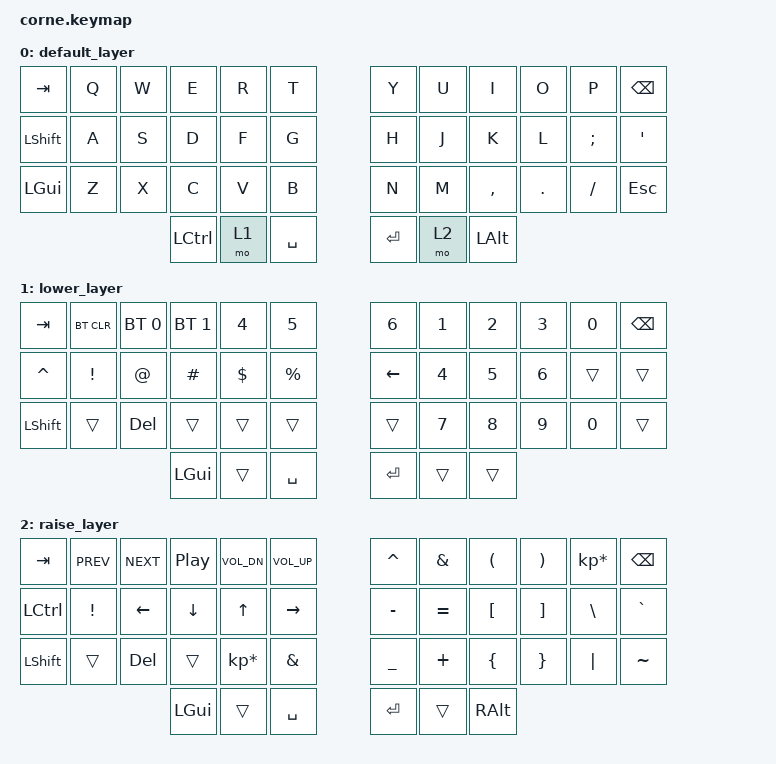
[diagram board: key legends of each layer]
/*
 * Copyright (c) 2020 The ZMK Contributors
 *
 * SPDX-License-Identifier: MIT
 */

#include <behaviors.dtsi>
#include <dt-bindings/zmk/bt.h>
#include <dt-bindings/zmk/keys.h>

/ {
    keymap {
        compatible = "zmk,keymap";

        default_layer {
            // -----------------------------------------------------------------------------------------
            // |  TAB |  Q  |  W  |  E  |  R  |  T  |   |  Y  |  U   |  I  |  O  |  P  | BKSP |
            // | CTRL |  A  |  S  |  D  |  F  |  G  |   |  H  |  J   |  K  |  L  |  ;  |  '   |
            // | SHFT |  Z  |  X  |  C  |  V  |  B  |   |  N  |  M   |  ,  |  .  |  /  | ESC  |
            //                    | GUI | LWR | SPC |   | ENT | RSE  | ALT |

            bindings = <
&kp TAB    &kp Q  &kp W  &kp E      &kp R  &kp T        &kp Y    &kp U  &kp I      &kp O    &kp P     &kp BSPC
&kp LSHFT  &kp A  &kp S  &kp D      &kp F  &kp G        &kp H    &kp J  &kp K      &kp L    &kp SEMI  &kp SQT
&kp LGUI   &kp Z  &kp X  &kp C      &kp V  &kp B        &kp N    &kp M  &kp COMMA  &kp DOT  &kp FSLH  &kp ESC
                         &kp LCTRL  &mo 1  &kp SPACE    &kp RET  &mo 2  &kp LALT
            >;
        };

        lower_layer {
            // -----------------------------------------------------------------------------------------
            // |  TAB |  1  |  2  |  3  |  4  |  5  |   |  6  |  7  |  8  |  9  |  0  | BKSP |
            // | BTCLR| BT1 | BT2 | BT3 | BT4 | BT5 |   | LFT | DWN |  UP | RGT |     |      |
            // | SHFT |     | DEL |     |     | F11 |   |     |     |     |     |     |      |
            //                    | GUI |     | SPC |   | ENT |     | ALT |

            bindings = <
&kp TAB    &bt BT_CLR  &bt BT_SEL 0  &bt BT_SEL 1  &kp N4      &kp N5         &kp N6    &kp NUMBER_1  &kp NUMBER_2  &kp NUMBER_3  &kp N0        &kp BSPC
&kp CARET  &kp EXCL    &kp AT        &kp HASH      &kp DOLLAR  &kp PERCENT    &kp LEFT  &kp NUMBER_4  &kp NUMBER_5  &kp NUMBER_6  &trans        &trans
&kp LSHFT  &trans      &kp DEL       &trans        &trans      &trans         &trans    &kp NUMBER_7  &kp N8        &kp NUMBER_9  &kp NUMBER_0  &trans
                                     &kp LGUI      &trans      &kp SPACE      &kp RET   &trans        &trans
            >;
        };

        raise_layer {
            // -----------------------------------------------------------------------------------------
            // |  TAB |  !  |  @  |  #  |  $  |  %  |   |  ^  |  &  |  *  |  (  |  )  | BKSP |
            // | CTRL |     |     |     |     |     |   |  -  |  =  |  [  |  ]  |  \  |  `   |
            // | SHFT |     |     |     |     |     |   |  _  |  +  |  {  |  }  | "|" |  ~   |
            //                    | GUI |     | SPC |   | ENT |     | ALT |

            bindings = <
&kp TAB    &kp C_PREV  &kp C_NEXT  &kp C_PP        &kp C_VOL_DN     &kp C_VOLUME_UP    &kp CARET  &kp AMPS   &kp LEFT_PARENTHESIS  &kp RIGHT_PARENTHESIS  &kp KP_ASTERISK  &kp BSPC
&kp LCTRL  &kp EXCL    &kp LEFT    &kp DOWN_ARROW  &kp UP_ARROW     &kp RIGHT_ARROW    &kp MINUS  &kp EQUAL  &kp LBKT              &kp RBKT               &kp BSLH         &kp GRAVE
&kp LSHFT  &trans      &kp DEL     &trans          &kp KP_MULTIPLY  &kp AMPERSAND      &kp UNDER  &kp PLUS   &kp LBRC              &kp RBRC               &kp PIPE         &kp TILDE
                                   &kp LGUI        &trans           &kp SPACE          &kp RET    &trans     &kp RALT
            >;
        };
    };
};
